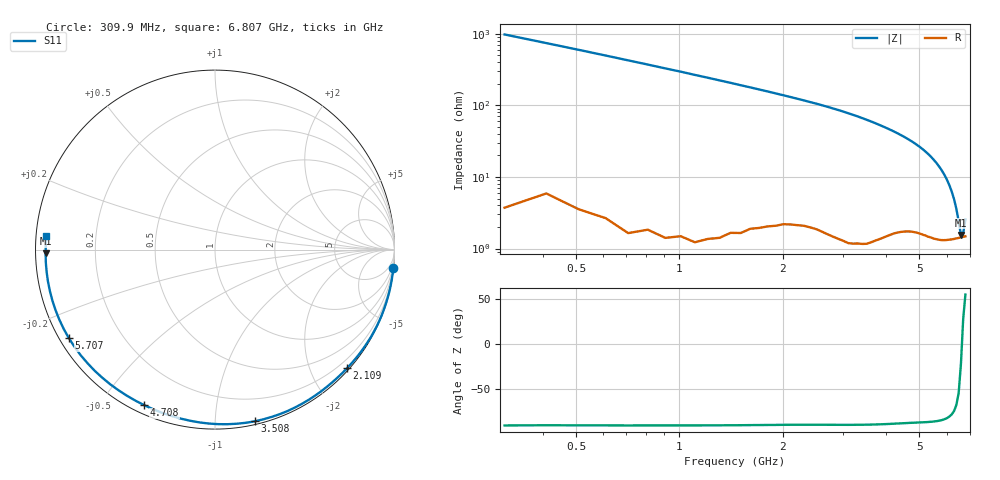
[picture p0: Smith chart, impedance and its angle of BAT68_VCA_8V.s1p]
! Infineon Technologies  Discrete & RF Semiconductors
! BAT68
! VCA = 8 V
! One-Port S-Parameters
# Hz  S  MA  R  50
!f  S11
!Hz  Mag  Ang
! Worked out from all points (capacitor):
!   66 points, 309.9 MHz to 6.807 GHz, reference 50 ohm
!   read as one part to ground: C = 523 fF near 309.9 MHz
!   lowest |Z| = 1.55 ohm at 6.607 GHz (marker M1)
!   series resonance near 6.65 GHz, so ESL is about 1.1 nH
!   S11 on the Smith chart (normalised r, x): 309.9 MHz: 0, -20; 2.109 GHz: 0.04, -2.61; 3.508 GHz: 0.02, -1.26; 4.708 GHz: 0.03, -0.64; 5.707 GHz: 0.03, -0.28; 6.807 GHz: 0.03, +0.04
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3.0985e8  0.9996 -5.9
7.0965e8  0.9991 -13.4
1.0095e9  0.9983 -19.2
1.2094e9  0.9978 -23.2
1.6092e9  0.9945 -31.4
2.009e9  0.9899 -39.8
2.10895e9  0.9889 -41.9
2.50875e9  0.9864 -50.8
2.8086e9  0.9863 -58.0
3.0085e9  0.9861 -63.1
3.2084e9  0.9853 -68.4
3.50825e9  0.9821 -76.9
3.6082e9  0.9801 -79.8
3.8081e9  0.9754 -85.9
4.008e9  0.9698 -92.0
4.2079e9  0.9636 -98.2
4.4078e9  0.9581 -104.6
4.70765e9  0.9523 -114.4
5.0075e9  0.9504 -124.5
5.2074e9  0.9507 -131.3
5.50725e9  0.952 -141.8
5.70715e9  0.952 -148.9
5.90705e9  0.9511 -155.8
6.007e9  0.9503 -159.2
6.10695e9  0.9493 -162.6
6.30685e9  0.9474 -169.2
6.6067e9  0.944 -178.7
6.8066e9  0.9425 175.2
